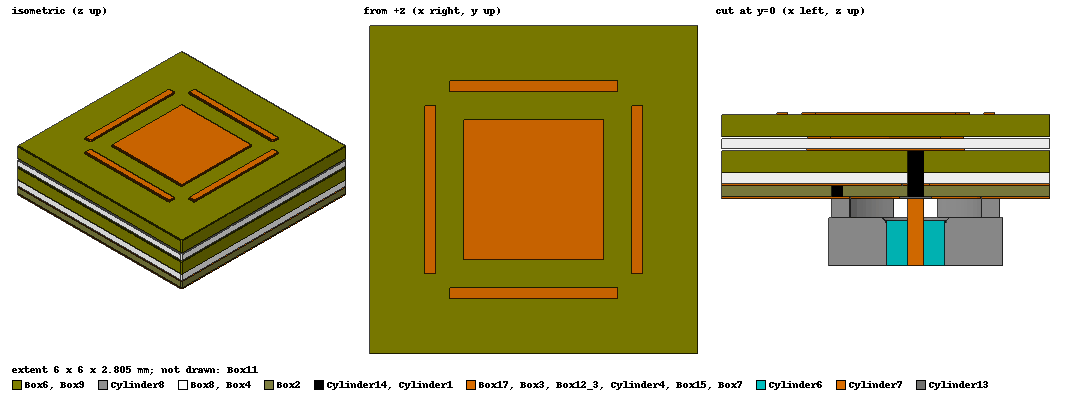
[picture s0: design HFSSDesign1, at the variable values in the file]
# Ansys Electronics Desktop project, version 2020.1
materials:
  vacuum: permittivity=1
  copper: permeability=0.999991 conductivity=58000000
  Rogers RO4003 (tm): permittivity=3.55 dielectric_loss_tangent=0.0027
  RO4450: permittivity=3.55
  Rogers RT/duroid 5880 (tm): permittivity=2.2 dielectric_loss_tangent=0.0009
  pec: conductivity=1e+30
  air: permittivity=1.0006 permeability=1.0000004
  Rogers RO4350 (tm): permittivity=3.66 dielectric_loss_tangent=0.004
  jiezhi: permittivity=2.3

design HFSSDesign1 (HFSS, DrivenModal, model units mm)
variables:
  t = 0.035mm
  sub_l = 6mm
  h0 = 0.2mm
  hp = 0.2mm
  pw = 2.9mm
  h1 = 0.4mm
  pw1 = 2.55mm
  hp1 = 0.2mm
  h2 = 0.4mm
  lf = 2.6mm
  wf = 0.31mm
  r1 = 0.15mm
  rc = 0.25mm
  wc = 0.4mm
  lc = 4mm
  dw = 2.7mm
  r2 = 0.3mm
  r3 = 0.3mm
  a1 = 2.85mm
  b1 = 0.08mm
  dvia = 1.8mm
  dr = 0.54mm
  w1 = 0.4mm
  a2 = 2mm
  w2 = 0.2mm
  a3 = 3mm
  l2 = 2.67mm
  ssmp_h2 = 0.0287mm
  ssmp_r2 = (1.0668/2) mm
  ssmp_r4 = (1.2192/2) mm
  ssmp_h0 = 1.23mm
  ssmp_w1 = 0.8128mm
  ssmp_r1 = (3.175/2) mm
  ssmp_h1 = 0.8226mm
  ssmp_h3 = 0.0508mm
  ssmp_r3 = (1.1176/2) mm
  ssmp_r5 = 1.27mm
  ssmp_r6 = 0.1524mm
  cut = 1.2mm
  r4 = 0.3mm
  h = 0mm
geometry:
  Box2 [Rogers RO4003 (tm)] = box(corner=(-sub_l/2, -sub_l/2, t+h), size=(sub_l, sub_l, h0))
  Box3 [copper] = box(corner=(-sub_l/2, -sub_l/2, t+h0+h), size=(sub_l, sub_l, t))
  Box4 [RO4450] = box(corner=(-sub_l/2, -sub_l/2, t*2+h0), size=(sub_l, sub_l, hp))
  Box5 = box(corner=(-pw/2, -pw/2, t*2+h0+hp+h1), size=(pw, pw, t))
  Box6 [Rogers RT/duroid 5880 (tm)] = box(corner=(-sub_l/2, -sub_l/2, t*2+h0+hp), size=(sub_l, sub_l, h1))
  Box7 [copper] = box(corner=(-pw1/2, -pw1/2, t*4+h0+h2+hp+h1+hp1), size=(pw1, pw1, t))
  Box8 [RO4450] = box(corner=(-sub_l/2, -sub_l/2, t*3+h0+hp+h1), size=(sub_l, sub_l, hp1))
  Box9 [Rogers RT/duroid 5880 (tm)] = box(corner=(-sub_l/2, -sub_l/2, t*4+h0+hp+h1+hp1), size=(sub_l, sub_l, h2))
  Cylinder1 [copper] = cylinder(axis=Z, base_centre=(-sub_l/2+lf-r1, 0mm, t+h), radius=r1, height=t+h0+hp+h1)
  Cylinder1_1 = Cylinder1.duplicate_around_axis(axis=Z, angle=0deg, total=2)
  Cylinder2 = cylinder(axis=Z, base_centre=(-sub_l/2+lf-r1, 0mm, t+h0+h), radius=rc, height=t)
  Box3.subtract(Cylinder2)
  Cylinder1_1_1 = Cylinder1_1.copy()
  Box2.subtract(Cylinder1_1_1)
  Cylinder1_1_2 = Cylinder1_1.copy()
  Box4.subtract(Cylinder1_1_2)
  Box6.subtract(Cylinder1_1)
  Box11 [air] = box(corner=(-sub_l/2-5mm, -sub_l/2-5mm, -ssmp_h0), size=(sub_l+10mm, sub_l+10mm, 6mm))
  Cylinder3 [copper] = cylinder(axis=Z, base_centre=(0, -dw/2, t+h), radius=r2, height=t+h0+hp+h1)
  Cylinder3_1 = Cylinder3.duplicate_mirror(point=(0mm, 0mm, 0mm), normal=(0mm, 1mm, 0mm))
  Cylinder3.unite(Cylinder3_1)
  Cylinder3_2 = Cylinder3.duplicate_around_axis(axis=Z, angle=0deg, total=2)
  Cylinder3_2_1 = Cylinder3_2.copy()
  Box2.subtract(Cylinder3_2_1)
  Cylinder3_2_2 = Cylinder3_2.copy()
  Box3.subtract(Cylinder3_2_2)
  Cylinder3_2_3 = Cylinder3_2.copy()
  Box4.subtract(Cylinder3_2_3)
  Box6.subtract(Cylinder3_2)
  Cylinder4 [copper] = cylinder(axis=Z, base_centre=(0, -dw/2, t*2+h0+hp+h1), radius=r2+0.1mm, height=t)
  Cylinder4_1 = Cylinder4.duplicate_mirror(point=(0mm, 0mm, 0mm), normal=(0mm, -1mm, 0mm))
  Cylinder4.unite(Cylinder4_1, Box5)
  Box12 = box(corner=(dvia, -l2/2-w2, t*4+h0+h2+hp+h1+hp1), size=(w2, l2+w2*2, t))
  Box12_3 [copper], Box12_1, Box12_2 = Box12.duplicate_around_axis(axis=Z, angle=90deg, total=4)
  Box12_3.unite(Box12_2, Box12_1, Box12)
  Box13 = box(corner=(-a1/2, -a1/2, t*3+h0+hp+h1+hp1), size=(a1, a1, t))
  Box14 = box(corner=(-a2/2, -a2/2, t*3+h0+hp+h1+hp1), size=(a2, a2, t))
  Box13.subtract(Box14)
  Box15 [copper] = box(corner=(-b1/2, -a3/2, t*3+h0+hp+h1+hp1), size=(b1, a3, t))
  Box15_1 = Box15.duplicate_around_axis(axis=Z, angle=90deg, total=2)
  Box15.unite(Box15_1)
  Box15.rotate(axis=Z, angle=45deg)
  Box15.unite(Box13)
  Cylinder8 [copper] = cylinder(axis=Z, base_centre=(0mm, 0mm, -ssmp_h0), radius=ssmp_r1, height=ssmp_h0)
  Cone1 = cone(axis=Z, base_centre=(0mm, 0mm, -ssmp_h0+ssmp_h1), bottom_radius=ssmp_r3, top_radius=ssmp_r4, height=ssmp_h3)
  Cylinder9 = cylinder(axis=Z, base_centre=(0mm, 0mm, -ssmp_h0), radius=ssmp_r2, height=ssmp_h1)
  Cylinder11 = cylinder(axis=Z, base_centre=(0mm, 0mm, -ssmp_h0+ssmp_h1-ssmp_h2), radius=ssmp_r3, height=ssmp_h2)
  Cylinder5 = cylinder(axis=Z, base_centre=(0mm, 0mm, -ssmp_h0+ssmp_h1+ssmp_h3), radius=ssmp_r5, height=ssmp_h0-ssmp_h1-ssmp_h3)
  Cylinder8.subtract(Cone1, Cylinder9, Cylinder11, Cylinder5)
  Box16 = box(corner=(-ssmp_w1/2, -ssmp_r1, -ssmp_h0+ssmp_h1+ssmp_h3), size=(ssmp_w1, ssmp_r1*2, ssmp_h0-ssmp_h1-ssmp_h3))
  Box1_1 = Box16.duplicate_around_axis(axis=Z, angle=90deg, total=2)
  Cylinder8.subtract(Box16, Box1_1)
  Cylinder6 [jiezhi] = cylinder(axis=Z, base_centre=(0mm, 0mm, -ssmp_h0), radius=ssmp_r2, height=ssmp_h1)
  Cylinder10 = cylinder(axis=Z, base_centre=(0mm, 0mm, -ssmp_h0), radius=ssmp_r6, height=ssmp_h0)
  Cylinder6.subtract(Cylinder10)
  Cylinder7 [copper] = cylinder(axis=Z, base_centre=(0mm, 0mm, -ssmp_h0), radius=ssmp_r6, height=ssmp_h0)
  [Cylinder8, Cylinder6, Cylinder7].move(-sub_l/2+lf-r1, 0mm, 0mm)
  Box17 [copper] = box(corner=(-sub_l/2, -sub_l/2, h), size=(sub_l, sub_l, t))
  Cylinder12 = cylinder(axis=Z, base_centre=(-sub_l/2+lf-r1, 0mm, h), radius=cut, height=t)
  Box17.subtract(Cylinder12)
  Cylinder13 [copper] = cylinder(axis=Z, base_centre=(-sub_l/2+lf-r1, 0mm, 0mm), radius=r4, height=t)
  Circle1 = circle(normal=Z, centre=(-sub_l/2+lf-r1, 0mm, -ssmp_h0), radius=ssmp_r2)
  coordinate_system RelativeCS1 = origin=(-sub_l/2+lf-r1, 0mm, 0mm) x=(1mm, 0mm, 0mm) y=(0mm, 1mm, 0mm)
  Cylinder14 [copper] = cylinder(axis=Z, base_centre=((ssmp_r1-ssmp_r5)/2+ssmp_r5, 0mm, t), radius=0.1mm, height=h0) in RelativeCS1
  Cylinder14_1..Cylinder14_4 = Cylinder14.duplicate_around_axis(axis=Z, angle=12deg, total=5) in RelativeCS1
  Cylinder14_5 = Cylinder14.duplicate_around_axis(axis=Z, angle=90deg, total=2) in RelativeCS1
  Cylinder14_5_1..Cylinder14_5_15 = Cylinder14_5.duplicate_around_axis(axis=Z, angle=12deg, total=16) in RelativeCS1
  Cylinder14_6..Cylinder14_9 = Cylinder14.duplicate_around_axis(axis=Z, angle=-12deg, total=5) in RelativeCS1
  Cylinder14.unite(Cylinder14_1..Cylinder14_5, Cylinder14_5_1..Cylinder14_5_15, Cylinder14_6..Cylinder14_9)
  Box4.move(0mm, 0mm, 2*h) in RelativeCS1
  Box6.move(0mm, 0mm, 3*h) in RelativeCS1
  Box8.move(0mm, 0mm, 4*h) in RelativeCS1
  [Box9, Box12_3, Box7].move(0mm, 0mm, 5*h) in RelativeCS1
  Box15.move(0mm, 0mm, 4*h) in RelativeCS1
  Cylinder4.move(0mm, 0mm, 3*h) in RelativeCS1
  Cylinder14.move(0mm, 0mm, h) in RelativeCS1
  group Cylinder_Group = Cylinder8, Cylinder6, Cylinder7
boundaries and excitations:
  Rad1: Radiation Objects=Box11
  1: Wave Port Objects=Circle1 NumModes=1 Modes{Mode1{CharImp=Zpi RenormImp=50ohm}}
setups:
  Setup1: HfssDriven Frequency=26GHz MaxDeltaS=0.02 MaximumPasses=15 MinimumPasses=1 MinimumConvergedPasses=1 PercentRefinement=30 MeshLink{ImportMesh LinkID=10 PathRelativeTo=TargetProject ApplyMeshOp AdaptPort} BasisOrder=1 PortAccuracy=2
    sweep Sweep: 8GHz to 42GHz, 100 points; Type=Discrete SaveFields
  Setup2: HfssDriven Frequency=18GHz MaxDeltaS=0.02 MaximumPasses=15 MinimumPasses=1 MinimumConvergedPasses=1 PercentRefinement=30 MeshLink{ImportMesh LinkID=11 PathRelativeTo=TargetProject ApplyMeshOp AdaptPort} BasisOrder=1 PortAccuracy=2
  Setup3: HfssDriven Frequency=31GHz MaxDeltaS=0.02 MaximumPasses=15 MinimumPasses=1 MinimumConvergedPasses=1 PercentRefinement=30 MeshLink{ImportMesh LinkID=12 PathRelativeTo=TargetProject ApplyMeshOp AdaptPort} BasisOrder=1 PortAccuracy=2
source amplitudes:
  1:1: 1W 0deg
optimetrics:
  dw: Parametric Sim._Setups=[Setup1, Setup2, Setup3]
    sweep dw: LIN 2.65mm 2.75mm 0.01mm
  pw: Parametric Sim._Setups=[Setup1, Setup2, Setup3]
    sweep pw: LIN 2.85mm 2.95mm 0.01mm
  pw1: Parametric Sim._Setups=[Setup1, Setup2, Setup3]
    sweep pw1: LIN 2.5mm 2.6mm 0.01mm
  l2: Parametric Sim._Setups=[Setup1, Setup2, Setup3]
    sweep l2: LIN 2.65mm 2.75mm 0.01mm
  w2: Parametric Sim._Setups=[Setup1, Setup2, Setup3]
    sweep w2: LIN 0.15mm 0.2mm 0.01mm
  dvia: Parametric Sim._Setups=[Setup1, Setup2, Setup3]
    sweep dvia: LIN 1.75mm 1.85mm 0.01mm
  a1: Parametric Sim._Setups=[Setup1, Setup2, Setup3]
    sweep a1: LIN 2.75mm 2.85mm 0.01mm
  a2: Parametric Sim._Setups=[Setup1, Setup2, Setup3]
    sweep a2: LIN 1.95mm 2.05mm 0.01mm
  b1: Parametric Sim._Setups=[Setup1, Setup2, Setup3]
    sweep b1: LIN 0.03mm 0.14mm 0.01mm
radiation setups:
  Infinite Sphere1: Infinite Sphere Theta=-180deg..180deg step 0.5deg Phi=0deg..90deg step 90deg
  Infinite Sphere2: Infinite Sphere Theta=0deg..0deg step 0deg Phi=0deg..0deg step 0deg
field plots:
  Vector_Jsurf1: Jsurf over Cylinder4.face(all 10) Box7.face(all 6) on Setup3 : LastAdaptive at Freq=31GHz Phase=0deg
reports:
  S Parameter Plot 1: dB(S(1,1)) vs Freq on Setup1 : Sweep; markers m1 at 27.232323GHz, m2 at 27.232323GHz, MY1 at y=-10.0112, MY2 at y=-14.6329
  Z Parameter Plot 1: im(Z(1,1)), re(Z(1,1)) vs Freq on Setup1 : Sweep; markers m1 at 24.25GHz, m2 at 28.833333GHz
  Realized Gain Plot 1: dB(RealizedGainTotal) vs Theta on Setup1 : LastAdaptive, Infinite Sphere1 [Phi=all Freq=26GHz]; markers m1 at 0deg, MY1 at y=1.53846
  Realized Gain Plot 2: dB(RealizedGainTotal) vs Freq on Setup1 : Sweep, Infinite Sphere2 [Phi=all Theta=all]; markers m1 at 24.285714GHz, m2 at 29.666667GHz, m3 at 24.141414GHz, m4 at 17.833333GHz, m5 at 31.583333GHz, MY1 at y=-9.98209
